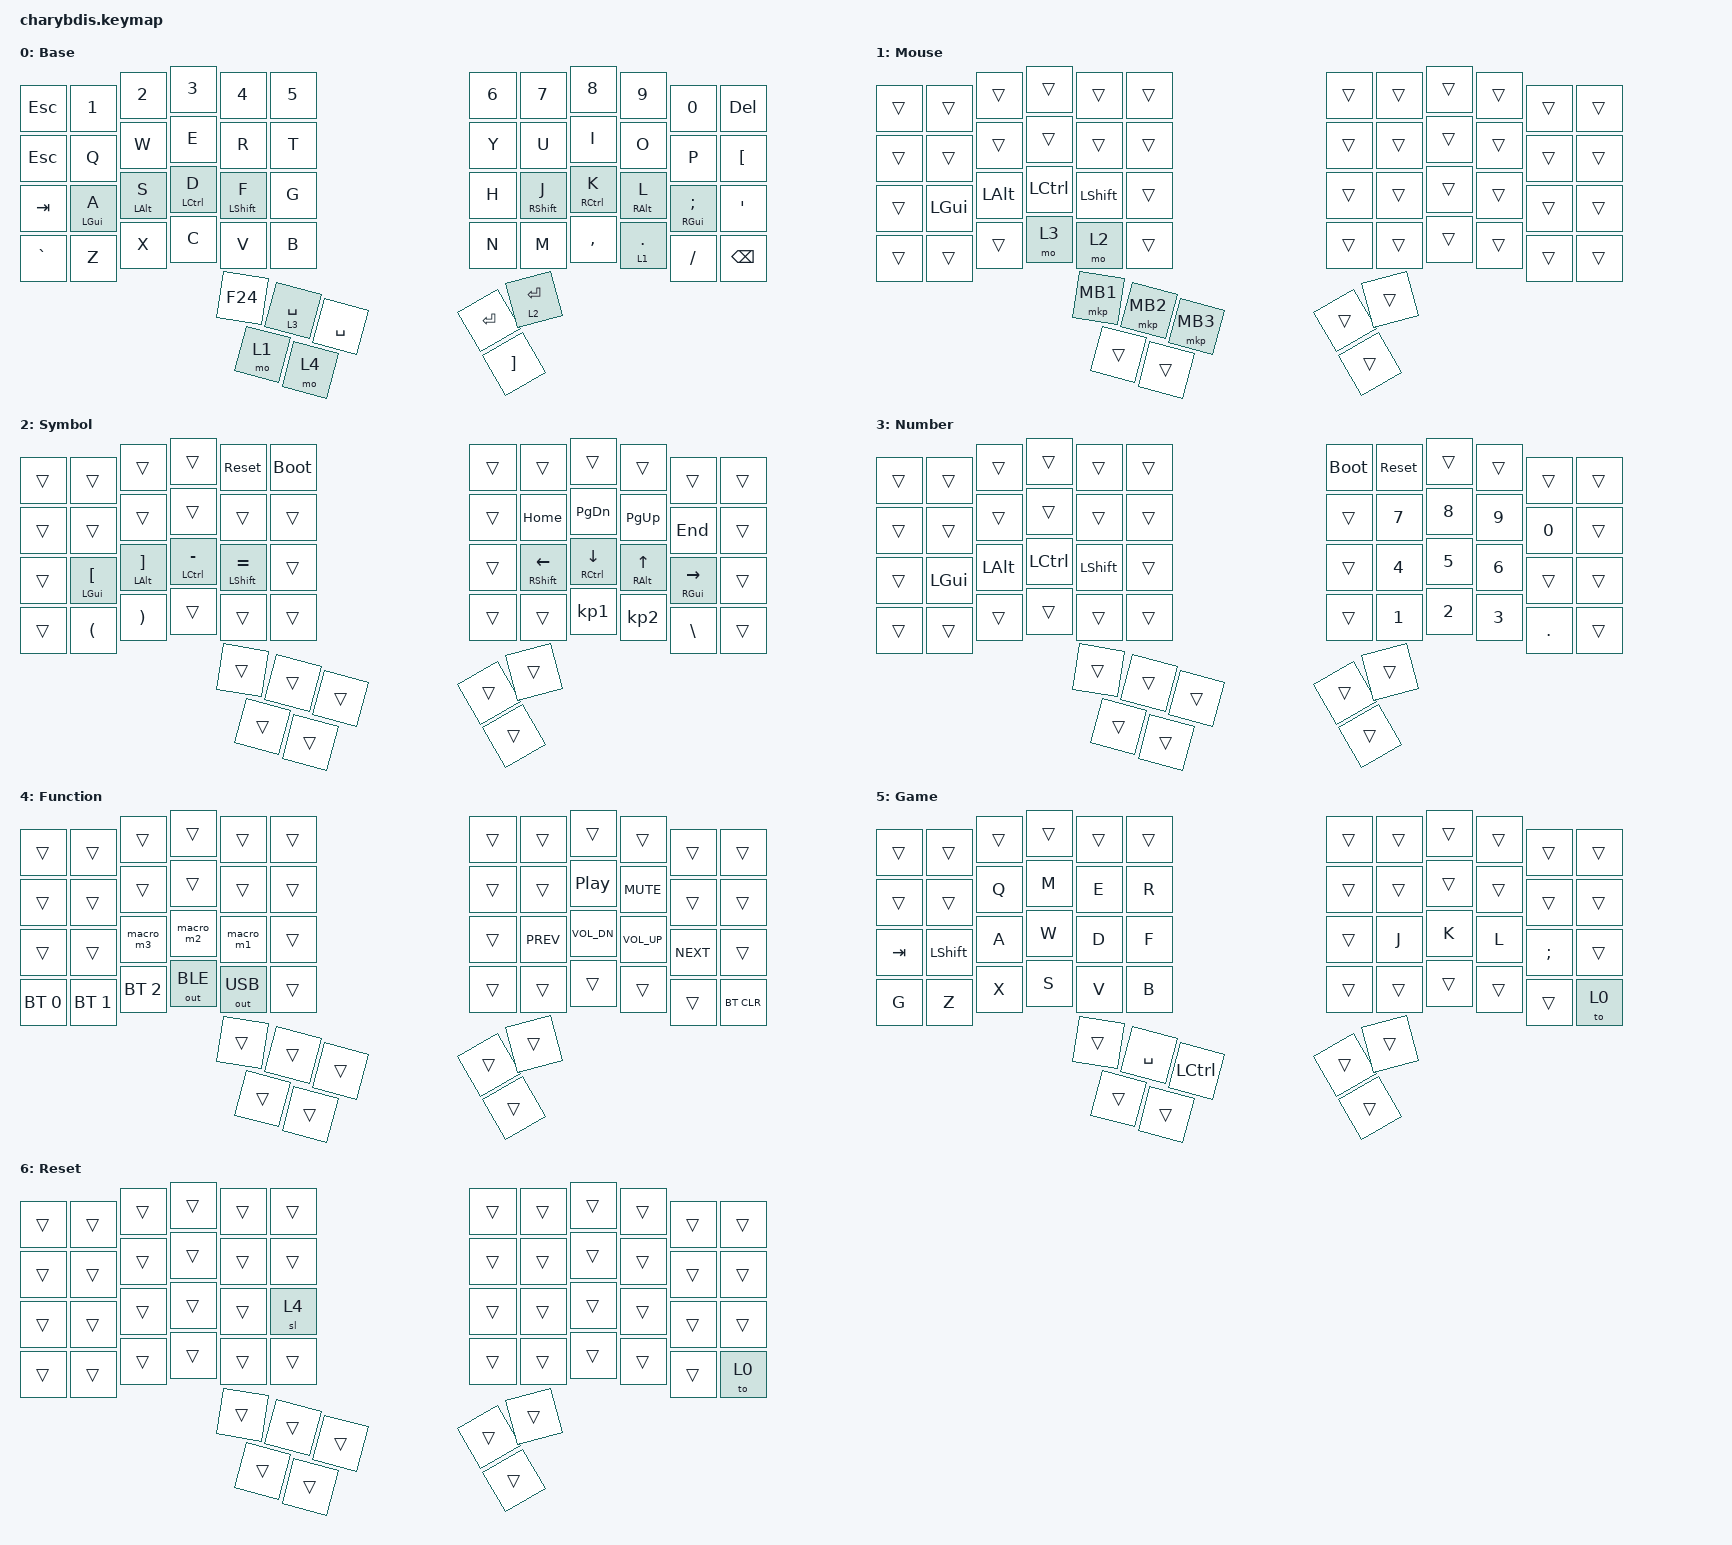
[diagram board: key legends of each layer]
#include <behaviors.dtsi>
#include <dt-bindings/zmk/bt.h>
#include <dt-bindings/zmk/keys.h>
#include <dt-bindings/zmk/outputs.h>
#include <dt-bindings/zmk/pointing.h>

#define BASE 0
#define MOUSE 1
#define SYMBOL 2
#define NUMBER 3
#define FUNCTION 4
#define GAME 5
#define RESET 6

#define KEYS_L 0 1 2 3 4 10 11 12 13 14 20 21 22 23 24
#define KEYS_R 5 6 7 8 9 15 16 17 18 19 25 26 27 28 29
#define THUMBS 30 31 32 33 34 35

&sk {
  release-after-ms = <600>;
  quick-release;
};

&sl {
  ignore-modifiers;
  release-after-ms = <100>;
};

&mt {
  flavor = "tap-preferred";
};

&lt {
  flavor = "balanced";
  tapping-term-ms = <200>;
  quick-tap-ms = <175>;
};

&caps_word {
  /delete-property/ ignore-modifiers;
};

/ {
  behaviors {
    hml: hml {
      compatible = "zmk,behavior-hold-tap";
      #binding-cells = <2>;
      flavor = "balanced";
      tapping-term-ms = <2000>;
      quick-tap-ms = <175>;
      require-prior-idle-ms = <250>;
      hold-trigger-key-positions = <KEYS_R THUMBS>;
      hold-trigger-on-release;
      bindings =
        <&kp>,
        <&kp>;
    };

    hmr: hmr {
      compatible = "zmk,behavior-hold-tap";
      #binding-cells = <2>;
      flavor = "balanced";
      tapping-term-ms = <2000>;
      quick-tap-ms = <175>;
      require-prior-idle-ms = <250>;
      hold-trigger-key-positions = <KEYS_L THUMBS>;
      hold-trigger-on-release;
      bindings =
        <&kp>,
        <&kp>;
    };
    hml_s: hml_s {
      compatible = "zmk,behavior-hold-tap";
      #binding-cells = <2>;
      flavor = "balanced";
      tapping-term-ms = <2000>;
      quick-tap-ms = <175>;
      require-prior-idle-ms = <0>;
      hold-trigger-key-positions = <KEYS_R THUMBS>;
      hold-trigger-on-release;
      bindings =
        <&kp>,
        <&kp>;
    };

    hmr_s: hmr_s {
      compatible = "zmk,behavior-hold-tap";
      #binding-cells = <2>;
      flavor = "balanced";
      tapping-term-ms = <2000>;
      quick-tap-ms = <175>;
      require-prior-idle-ms = <0>;
      hold-trigger-key-positions = <KEYS_L THUMBS>;
      hold-trigger-on-release;
      bindings =
        <&kp>,
        <&kp>;
    };


    smart_shift: smart_shift {
      compatible = "zmk,behavior-mod-morph";
      #binding-cells = <0>;
      bindings = <&sk LSHIFT>, <&caps_word>;
      mods = <(MOD_LSFT)>;
    };
  };

  macros {
    compatible = "zmk,macros";

    macro_m1: macro_m1 {
      compatible = "zmk,behavior-macro";
      label = "MACRO_M1";
      #binding-cells = <0>;
      wait-ms = <20>;
      tap-ms = <5>;
      bindings = <&kp LS(L)>, <&kp A>, <&kp C>, <&kp K>, <&kp O>, <&kp LS(F)>, <&kp F>, <&kp R>, <&kp LS(E)>, <&kp E>, <&kp LS(W)>, <&kp I>, <&kp L>, <&kp L>;
    };

    macro_m2: macro_m2 {
      compatible = "zmk,behavior-macro";
      label = "MACRO_M2";
      #binding-cells = <0>;
      wait-ms = <20>;
      tap-ms = <5>;
      bindings = <&kp LS(L)>, <&kp A>, <&kp C>, <&kp K>, <&kp N3>, <&kp O>, <&kp LS(F)>, <&kp DOT>, <&kp F>, <&kp R>, <&kp LS(E)>, <&kp E>, <&kp N1>, <&kp LS(W)>, <&kp I>, <&kp L>, <&kp L>, <&kp N4>;
    };

    macro_m3: macro_m3 {
      compatible = "zmk,behavior-macro";
      label = "MACRO_M3";
      #binding-cells = <0>;
      wait-ms = <20>;
      tap-ms = <5>;
      bindings = <&kp O>, <&kp C>, <&kp LS(L)>, <&kp LS(M)>, <&kp M>, <&kp N7>, <&kp C>, <&kp U>, <&kp K>, <&kp F>;
    };
  };

  combos {
    compatible = "zmk,combos";
    timeout-ms = <20>;
    require-prior-idle-ms = <250>;

    combo_reset_layer_left {
      key-positions = <20 24>;
      bindings = <&to RESET>;
    };
    combo_reset_layer_right {
      key-positions = <25 29>;
      bindings = <&to RESET>;
    };
    combo_reset_central {
      key-positions = <8 9>;
      bindings = <&bootloader>;
      require-prior-idle-ms = <2000>;
    };
    combo_normal {
      key-positions = <7 8>;
      bindings = <&to BASE>;
    };
    combo_game_toggle {
      key-positions = <10 11>;
      bindings = <&tog GAME>;
    };
    combo_esc {
      key-positions = <1 2>;
      bindings = <&kp ESCAPE>;
    };
    combo_tab {
      key-positions = <2 3>;
      bindings = <&kp TAB>;
    };
    combo_cdel {
      key-positions = <11 12>;
      bindings = <&kp LC(BACKSPACE)>;
    };
    combo_unlock {
      key-positions = <0 4>;
      bindings = <&studio_unlock>;
    };
    combo_lang_ru {
      key-positions = <44 45>;
      bindings = <&kp F19>;
    };
    combo_lang_en {
      key-positions = <38 39>;
      bindings = <&kp F18>;
    };
  };
  chosen {
    zmk,physical-layout = &charybdis_6col_layout;
  };

  keymap {
    compatible = "zmk,keymap";

    Base {
        label = "Base";
        display-name = "Base";
        bindings = <
        // ╭─────────────┬─────────────┬─────────────┬─────────────┬─────────────┬─────────────╮   ╭─────────────┬─────────────┬─────────────┬─────────────┬─────────────┬─────────────────╮
               &kp ESC       &kp N1         &kp N2        &kp N3        &kp N4        &kp N5            &kp N6        &kp N7        &kp N8        &kp N9        &kp N0       &kp DEL
        // ├─────────────┼─────────────┼─────────────┼─────────────┼─────────────┼─────────────┤   ├─────────────┼─────────────┼─────────────┼─────────────┼─────────────┼─────────────────┤
               &kp ESC       &kp Q          &kp W         &kp E         &kp R         &kp T             &kp Y         &kp U         &kp I         &kp O         &kp P      &kp LEFT_BRACKET
        // ├─────────────┼─────────────┼─────────────┼─────────────┼─────────────┼─────────────┤   ├─────────────┼─────────────┼─────────────┼─────────────┼─────────────┼─────────────────┤
               &kp TAB       &mt LGUI A     &mt LALT S    &mt LCTRL D   &mt LSHFT F   &kp G             &kp H      &mt RSHFT J   &mt RCTRL K   &mt RALT L   &mt RGUI SEMI     &kp APOS
        // ├─────────────┼─────────────┼─────────────┼─────────────┼─────────────┼─────────────┤   ├─────────────┼─────────────┼─────────────┼─────────────┼─────────────┼─────────────────┤
              &kp GRAVE      &kp Z          &kp X         &kp C         &kp V         &kp B             &kp N         &kp M      &kp COMMA      &lt 1 DOT       &kp FSLH     &kp BACKSPACE
        // ╰─────────────┴─────────────┼─────────────┼─────────────┼─────────────┼─────────────┤   ├─────────────┼─────────────┼─────────────┼─────────────┼─────────────┴─────────────────╯
                               &kp F24    &lt 3 SPACE    &kp SPACE       &mo 1         &mo 4          &kp RET       &lt 2 RET     &kp RIGHT_BRACKET
        //                                           ╰─────────────┤─────────────┤─────────────┤   ├─────────────┼─────────────╯
        >;
    };

    Mouse {
      label = "Mouse";
      display-name = "Mouse";
      bindings = <
        &trans   &trans   &trans   &trans    &trans    &trans            &trans &trans   &trans   &trans   &trans     &trans
        &trans   &trans   &trans   &trans    &trans    &trans            &trans &trans   &trans   &trans   &trans     &trans 
        &trans   &kp LGUI &kp LALT &kp LCTRL &kp LSHFT &trans            &trans &trans   &trans   &trans   &trans     &trans
        &trans   &trans   &trans   &mo 3     &mo 2     &trans            &trans &trans   &trans   &trans   &trans     &trans
                          &mkp MB1  &mkp MB2  &mkp MB3 &trans &trans          &trans &trans &trans
      >;
    };

    Sym {
      label = "Symbol";
      display-name = "Symbol";
      bindings = <
      // ╭─────────────┬─────────────┬─────────────┬─────────────┬─────────────┬─────────────╮   ╭─────────────┬─────────────┬─────────────┬─────────────┬─────────────┬─────────────╮
             &trans         &trans       &trans         &trans      &sys_reset   &bootloader         &trans       &trans         &trans        &trans        &trans        &trans
      // ├─────────────┼─────────────┼─────────────┼─────────────┼─────────────┼─────────────┤   ├─────────────┼─────────────┼─────────────┼─────────────┼─────────────┼─────────────┤
             &trans         &trans       &trans         &trans       &trans         &trans           &trans       &kp HOME    &kp PAGE_DOWN  &kp PAGE_UP     &kp END       &trans
      // ├─────────────┼─────────────┼─────────────┼─────────────┼─────────────┼─────────────┤   ├─────────────┼─────────────┼─────────────┼─────────────┼─────────────┼─────────────┤
      &trans &mt LGUI LEFT_BRACKET &mt LALT RIGHT_BRACKET &mt LCTRL MINUS &mt LSHFT EQUAL &trans     &trans     &mt RSHFT LEFT &mt RCTRL DOWN &mt RALT UP &mt RGUI RIGHT  &trans
      // ├─────────────┼─────────────┼─────────────┼─────────────┼─────────────┼─────────────┤   ├─────────────┼─────────────┼─────────────┼─────────────┼─────────────┼─────────────┤
             &trans        &kp LPAR      &kp RPAR       &trans        &trans        &trans           &trans        &trans       &kp KP_N1     &kp KP_N2   &kp BACKSLASH    &trans
      // ╰─────────────┴─────────────┼─────────────┼─────────────┼─────────────┼─────────────┤   ├─────────────┼─────────────┼─────────────┼─────────────┼─────────────┴─────────────╯
                           &trans        &trans         &trans        &trans       &trans            &trans        &trans        &trans
      //                                           ╰─────────────┤─────────────┤─────────────┤   ├─────────────┼─────────────╯
      >;
    };

    Num {
      label = "Number";
      display-name = "Number";
      bindings = <
      // ╭─────────────┬─────────────┬─────────────┬─────────────┬─────────────┬─────────────╮   ╭─────────────┬─────────────┬─────────────┬─────────────┬─────────────┬─────────────╮
             &trans        &trans         &trans       &trans         &trans       &trans          &bootloader    &sys_reset     &trans        &trans        &trans        &trans
      // ├─────────────┼─────────────┼─────────────┼─────────────┼─────────────┼─────────────┤   ├─────────────┼─────────────┼─────────────┼─────────────┼─────────────┼─────────────┤
             &trans        &trans         &trans       &trans         &trans       &trans           &trans         &kp N7         &kp N8       &kp N9        &kp N0        &trans
      // ├─────────────┼─────────────┼─────────────┼─────────────┼─────────────┼─────────────┤   ├─────────────┼─────────────┼─────────────┼─────────────┼─────────────┼─────────────┤
             &trans       &kp LGUI       &kp LALT     &kp LCTRL     &kp LSHFT      &trans           &trans        &kp N4        &kp N5        &kp N6        &trans        &trans
      // ├─────────────┼─────────────┼─────────────┼─────────────┼─────────────┼─────────────┤   ├─────────────┼─────────────┼─────────────┼─────────────┼─────────────┼─────────────┤
             &trans        &trans         &trans       &trans         &trans       &trans           &trans         &kp N1        &kp N2        &kp N3        &kp DOT       &trans
      // ╰─────────────┴─────────────┼─────────────┼─────────────┼─────────────┼─────────────┤   ├─────────────┼─────────────┼─────────────┼─────────────┼─────────────┴─────────────╯
                           &trans        &trans         &trans        &trans       &trans            &trans        &trans        &trans
      //                                           ╰─────────────┤─────────────┤─────────────┤   ├─────────────┼─────────────╯
      >;
    };

    Fun {
      label = "Function";
      display-name = "Function";
      bindings = <
      // ╭─────────────┬─────────────┬─────────────┬─────────────┬─────────────┬─────────────╮   ╭─────────────┬─────────────┬─────────────┬─────────────┬─────────────┬─────────────╮
             &trans        &trans         &trans       &trans         &trans       &trans           &trans         &trans         &trans        &trans        &trans        &trans
      // ├─────────────┼─────────────┼─────────────┼─────────────┼─────────────┼─────────────┤   ├─────────────┼─────────────┼─────────────┼─────────────┼─────────────┼─────────────┤
             &trans        &trans         &trans       &trans         &trans       &trans           &trans         &trans       &kp C_PP      &kp C_MUTE      &trans        &trans
      // ├─────────────┼─────────────┼─────────────┼─────────────┼─────────────┼─────────────┤   ├─────────────┼─────────────┼─────────────┼─────────────┼─────────────┼─────────────┤
             &trans        &trans       &macro_m3     &macro_m2     &macro_m1      &trans           &trans       &kp C_PREV   &kp C_VOL_DN  &kp C_VOL_UP    &kp C_NEXT      &trans
      // ├─────────────┼─────────────┼─────────────┼─────────────┼─────────────┼─────────────┤   ├─────────────┼─────────────┼─────────────┼─────────────┼─────────────┼─────────────┤
           &bt BT_SEL 0  &bt BT_SEL 1  &bt BT_SEL 2 &out OUT_BLE  &out OUT_USB    &trans           &trans         &trans         &trans        &trans        &trans      &bt BT_CLR
      // ╰─────────────┴─────────────┼─────────────┼─────────────┼─────────────┼─────────────┤   ├─────────────┼─────────────┼─────────────┼─────────────┼─────────────┴─────────────╯
                           &trans        &trans         &trans        &trans       &trans            &trans        &trans        &trans
      //                                           ╰─────────────┤─────────────┤─────────────┤   ├─────────────┼─────────────╯
      >;
    };

    Button {
      label = "Game";
      display-name = "Game";
      bindings = <
      // ╭─────────────┬─────────────┬─────────────┬─────────────┬─────────────┬─────────────╮   ╭─────────────┬─────────────┬─────────────┬─────────────┬─────────────┬─────────────╮
             &trans        &trans         &trans       &trans         &trans       &trans           &trans         &trans         &trans        &trans        &trans        &trans
      // ├─────────────┼─────────────┼─────────────┼─────────────┼─────────────┼─────────────┤   ├─────────────┼─────────────┼─────────────┼─────────────┼─────────────┼─────────────┤
             &trans        &trans         &kp Q         &kp M         &kp E         &kp R           &trans         &trans         &trans        &trans        &trans        &trans
      // ├─────────────┼─────────────┼─────────────┼─────────────┼─────────────┼─────────────┤   ├─────────────┼─────────────┼─────────────┼─────────────┼─────────────┼─────────────┤
             &kp TAB      &kp LSHIFT       &kp A         &kp W         &kp D         &kp F           &trans          &kp J         &kp K         &kp L       &kp SEMI        &trans
      // ├─────────────┼─────────────┼─────────────┼─────────────┼─────────────┼─────────────┤   ├─────────────┼─────────────┼─────────────┼─────────────┼─────────────┼─────────────┤
               &kp G         &kp Z         &kp X         &kp S         &kp V         &kp B           &trans         &trans         &trans        &trans        &trans        &to 0
      // ╰─────────────┴─────────────┼─────────────┼─────────────┼─────────────┼─────────────┤   ├─────────────┼─────────────┼─────────────┼─────────────┼─────────────┴─────────────╯
                           &trans       &kp SPACE     &kp LCTRL        &trans       &trans            &trans        &trans        &trans
      //                                           ╰─────────────┤─────────────┤─────────────┤   ├─────────────┼─────────────╯
      >;
    };

    Reset {
      label = "Reset";
      display-name = "Reset";
      bindings = <
      // ╭─────────────┬─────────────┬─────────────┬─────────────┬─────────────┬─────────────╮   ╭─────────────┬─────────────┬─────────────┬─────────────┬─────────────┬─────────────╮
             &trans        &trans         &trans       &trans         &trans       &trans           &trans         &trans         &trans        &trans        &trans        &trans
      // ├─────────────┼─────────────┼─────────────┼─────────────┼─────────────┼─────────────┤   ├─────────────┼─────────────┼─────────────┼─────────────┼─────────────┼─────────────┤
             &trans        &trans         &trans       &trans         &trans       &trans           &trans         &trans         &trans        &trans        &trans        &trans
      // ├─────────────┼─────────────┼─────────────┼─────────────┼─────────────┼─────────────┤   ├─────────────┼─────────────┼─────────────┼─────────────┼─────────────┼─────────────┤
             &trans        &trans         &trans       &trans         &trans        &sl 4           &trans         &trans         &trans        &trans        &trans        &trans
      // ├─────────────┼─────────────┼─────────────┼─────────────┼─────────────┼─────────────┤   ├─────────────┼─────────────┼─────────────┼─────────────┼─────────────┼─────────────┤
             &trans        &trans         &trans       &trans         &trans       &trans           &trans         &trans         &trans        &trans        &trans        &to 0
      // ╰─────────────┴─────────────┼─────────────┼─────────────┼─────────────┼─────────────┤   ├─────────────┼─────────────┼─────────────┼─────────────┼─────────────┴─────────────╯
                           &trans        &trans         &trans        &trans       &trans            &trans        &trans        &trans
      //                                           ╰─────────────┤─────────────┤─────────────┤   ├─────────────┼─────────────╯
      >;
    };
  };
};


